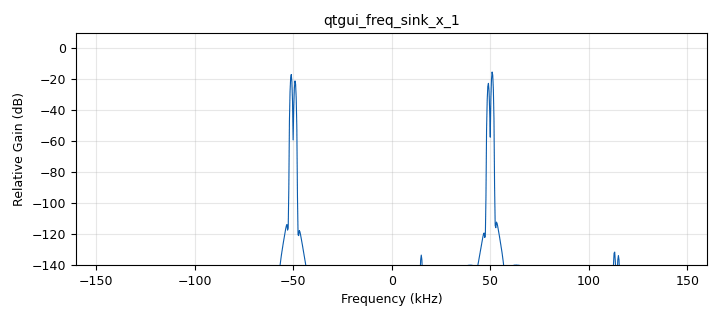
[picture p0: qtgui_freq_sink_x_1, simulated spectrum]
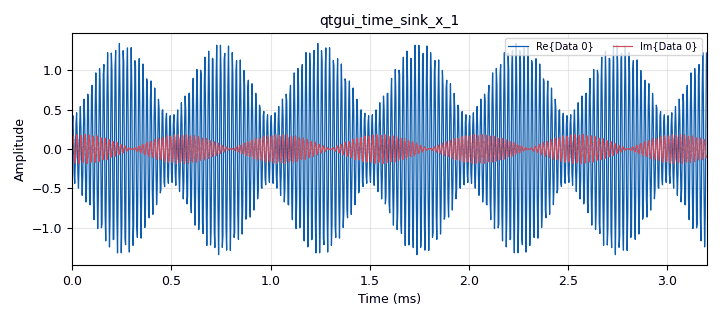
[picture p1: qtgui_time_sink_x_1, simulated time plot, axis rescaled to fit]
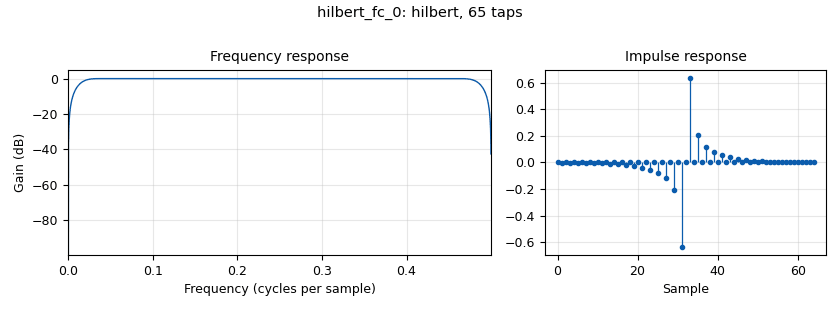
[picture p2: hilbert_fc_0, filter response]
options:
  parameters:
    generate_options: qt_gui
    id: ssb
    output_language: python
    title: Not titled yet
  states: {}

blocks:
- name: f_c
  id: variable_qtgui_range
  parameters:
    label: Carrier Frequency
    start: 50e3
    step: 2e3
    stop: 100e3
    value: 50e3
  states: {}
- name: samp_rate
  id: variable
  parameters:
    value: 3.2e5
  states: {}
- name: analog_const_source_x_0
  id: analog_const_source_x
  parameters:
    const: '0'
    type: float
  states: {}
- name: analog_const_source_x_0_0
  id: analog_const_source_x
  parameters:
    const: '0'
    type: float
  states: {}
- name: analog_sig_source_x_0
  id: analog_sig_source_x
  parameters:
    amp: '1'
    freq: '1000'
    offset: '0'
    phase: '0'
    samp_rate: samp_rate
    type: float
    waveform: analog.GR_COS_WAVE
  states: {}
- name: analog_sig_source_x_0_0
  id: analog_sig_source_x
  parameters:
    amp: '1'
    freq: '1000'
    offset: '0'
    phase: '0'
    samp_rate: samp_rate
    type: float
    waveform: analog.GR_COS_WAVE
  states: {}
- name: analog_sig_source_x_0_0_0
  id: analog_sig_source_x
  parameters:
    amp: '1'
    freq: f_c
    offset: '0'
    phase: '0'
    samp_rate: samp_rate
    type: float
    waveform: analog.GR_SIN_WAVE
  states: {}
- name: analog_sig_source_x_0_0_0_0
  id: analog_sig_source_x
  parameters:
    amp: '1'
    freq: f_c
    offset: '0'
    phase: '0'
    samp_rate: samp_rate
    type: float
    waveform: analog.GR_COS_WAVE
  states: {}
- name: blocks_float_to_complex_0
  id: blocks_float_to_complex
  parameters: {}
  states: {}
- name: blocks_float_to_complex_1
  id: blocks_float_to_complex
  parameters: {}
  states: {}
- name: blocks_multiply_xx_0
  id: blocks_multiply_xx
  parameters:
    type: float
  states: {}
- name: blocks_multiply_xx_0_0
  id: blocks_multiply_xx
  parameters:
    type: complex
  states: {}
- name: blocks_sub_xx_0
  id: blocks_sub_xx
  parameters:
    type: complex
  states: {}
- name: blocks_throttle_0
  id: blocks_throttle
  parameters:
    samples_per_second: samp_rate
    type: complex
  states: {}
- name: hilbert_fc_0
  id: hilbert_fc
  parameters:
    num_taps: '65'
    win: window.WIN_KAISER
  states: {}
- name: qtgui_freq_sink_x_0
  id: qtgui_freq_sink_x
  parameters:
    bw: samp_rate
    fc: '0'
    fftsize: '1024'
    nconnections: '2'
    type: float
  states: {state: disabled}
- name: qtgui_freq_sink_x_1
  id: qtgui_freq_sink_x
  parameters:
    average: '0.1'
    bw: samp_rate
    fc: '0'
    fftsize: '1024'
    type: complex
  states: {}
- name: qtgui_time_sink_x_0
  id: qtgui_time_sink_x
  parameters:
    nconnections: '2'
    size: round(samp_rate/1000)
    srate: samp_rate
    type: float
  states: {state: disabled}
- name: qtgui_time_sink_x_1
  id: qtgui_time_sink_x
  parameters:
    size: '1024'
    srate: samp_rate
    type: complex
  states: {}

connections:
- [analog_const_source_x_0, '0', blocks_float_to_complex_0, '1']
- [analog_const_source_x_0_0, '0', blocks_float_to_complex_1, '1']
- [analog_sig_source_x_0, '0', hilbert_fc_0, '0']
- [analog_sig_source_x_0_0, '0', blocks_multiply_xx_0, '1']
- [analog_sig_source_x_0_0_0, '0', blocks_float_to_complex_1, '0']
- [analog_sig_source_x_0_0_0_0, '0', blocks_multiply_xx_0, '0']
- [blocks_float_to_complex_0, '0', blocks_sub_xx_0, '0']
- [blocks_float_to_complex_1, '0', blocks_multiply_xx_0_0, '1']
- [blocks_multiply_xx_0, '0', blocks_float_to_complex_0, '0']
- [blocks_multiply_xx_0, '0', qtgui_freq_sink_x_0, '0']
- [blocks_multiply_xx_0, '0', qtgui_time_sink_x_0, '0']
- [blocks_multiply_xx_0_0, '0', blocks_sub_xx_0, '1']
- [blocks_sub_xx_0, '0', blocks_throttle_0, '0']
- [blocks_throttle_0, '0', qtgui_freq_sink_x_1, '0']
- [blocks_throttle_0, '0', qtgui_time_sink_x_1, '0']
- [hilbert_fc_0, '0', blocks_multiply_xx_0_0, '0']

metadata:
  file_format: 1
  grc_version: 3.10.11.0
